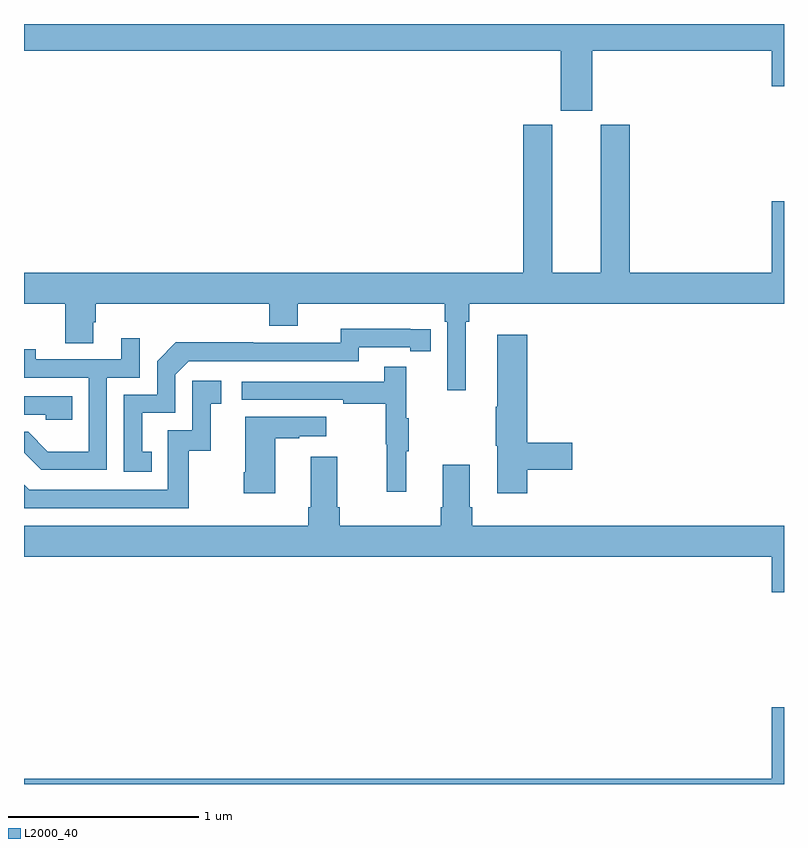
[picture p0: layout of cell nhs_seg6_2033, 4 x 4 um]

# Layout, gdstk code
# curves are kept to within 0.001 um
import gdstk
lib = gdstk.Library(unit=1e-6, precision=1e-09)
def P(c, l, *ps):  # polygons
    for p in ps: c.add(gdstk.Polygon(p, *l))
L2000_40 = (2000, 40)

nhs_seg6_2033 = lib.new_cell('nhs_seg6_2033')
P(nhs_seg6_2033, L2000_40, [(235.99,923.36),(236.936,923.36),(236.936,923.172),(237,923.172),(237,923.5),(233,923.5),(233,923.36),(235.826,923.36),(235.826,923.043),(235.99,923.043)],
  [(235.324,921.932),(235.343,921.932),(235.343,922.028),(237,922.028),(237,922.567),(236.936,922.567),(236.936,922.192),(236.189,922.192),(236.189,922.971),(236.036,922.971),(236.036,922.192),(235.78,922.192),(235.78,922.971),(235.628,922.971),(235.628,922.192),(233,922.192),(233,922.028),(233.218,922.028),(233.218,921.82),(233.365,921.82),(233.365,921.93),(233.378,921.93),(233.378,922.028),(234.29,922.028),(234.29,921.911),(234.442,921.911),(234.442,922.028),(235.214,922.028),(235.214,921.932),(235.227,921.932),(235.227,921.573),(235.324,921.573)],
  [(233.672,921.249),(233.623,921.249),(233.623,921.453),(233.796,921.453),(233.796,921.654),(233.868,921.726),(234.762,921.726),(234.762,921.798),(235.034,921.798),(235.034,921.778),(235.142,921.778),(235.142,921.894),(234.666,921.895),(234.666,921.822),(234.206,921.822),(234.206,921.824),(233.798,921.824),(233.7,921.726),(233.7,921.549),(233.526,921.549),(233.526,921.144),(233.672,921.144)],
  [(235.649,921.154),(235.885,921.154),(235.885,921.296),(235.649,921.296),(235.649,921.865),(235.49,921.865),(235.49,921.485),(235.483,921.485),(235.483,921.279),(235.49,921.279),(235.49,921.03),(235.649,921.03)],
  [(233.436,921.639),(233.61,921.639),(233.61,921.847),(233.513,921.847),(233.513,921.735),(233.062,921.735),(233.062,921.787),(233,921.787),(233,921.639),(233.34,921.639),(233.34,921.25),(233.126,921.25),(233.022,921.354),(233,921.354),(233,921.243),(233.09,921.153),(233.436,921.153)],
  [(235.013,921.251),(235.024,921.251),(235.024,921.425),(235.013,921.425),(235.013,921.697),(234.895,921.697),(234.895,921.618),(234.147,921.618),(234.147,921.522),(234.679,921.522),(234.679,921.502),(234.903,921.502),(234.903,921.288),(234.91,921.288),(234.91,921.039),(235.013,921.039)],
  [(233.866,921.255),(233.984,921.255),(233.984,921.501),(234.037,921.501),(234.037,921.622),(233.886,921.622),(233.886,921.363),(233.757,921.363),(233.757,921.048),(233.028,921.048),(233,921.076),(233,920.952),(233.866,920.952)],
  [(233.255,921.54),(233,921.54),(233,921.444),(233.115,921.444),(233.115,921.417),(233.255,921.417)],
  [(234.322,921.319),(234.449,921.319),(234.449,921.329),(234.592,921.329),(234.592,921.433),(234.164,921.433),(234.164,921.142),(234.157,921.142),(234.157,921.03),(234.322,921.03)],
  [(237,920.86),(235.358,920.86),(235.358,920.956),(235.345,920.956),(235.345,921.181),(235.205,921.181),(235.205,920.956),(235.193,920.956),(235.193,920.86),(234.662,920.86),(234.662,920.956),(234.649,920.956),(234.649,921.223),(234.509,921.223),(234.509,920.956),(234.497,920.956),(234.497,920.86),(233,920.86),(233,920.696),(236.936,920.696),(236.936,920.508),(237,920.508)],
  [(237,919.903),(236.936,919.903),(236.936,919.528),(233,919.528),(233,919.5),(237,919.5)])

lib.write_gds('nhs_seg6_2033.gds')
